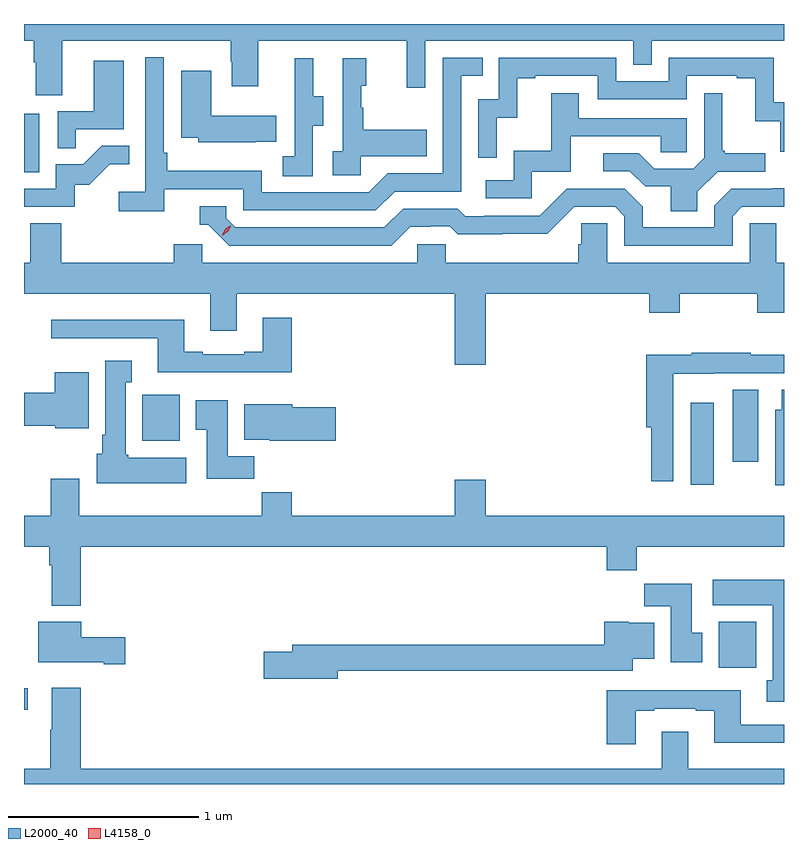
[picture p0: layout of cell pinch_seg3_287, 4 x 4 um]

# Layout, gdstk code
import gdstk
lib = gdstk.Library(unit=1e-6, precision=1e-09)
def R(c, l, rs):  # rectangles x0, y0, x1, y1
    for r in rs: c.add(gdstk.rectangle(r[:2], r[2:], *l))
def P(c, l, *ps):  # polygons
    for p in ps: c.add(gdstk.Polygon(p, *l))
L2000_40 = (2000, 40)
L4158_0 = (4158, 0)

pinch_seg3_287 = lib.new_cell('pinch_seg3_287')
R(pinch_seg3_287, L2000_40, [(941.961,706.719,941.98,706.831), (945.617,706.94,945.814,707.182), (945.47,707.904,945.592,708.334), (945.692,708.024,945.826,708.404), (942.584,708.134,942.781,708.376), (941.961,709.548,942.04,709.855)])
P(pinch_seg3_287, L2000_40, [(945.168,710.113),(945.264,710.113),(945.264,710.24),(945.961,710.24),(945.961,710.328),(941.961,710.328),(941.961,710.24),(942.011,710.24),(942.011,710.128),(942.023,710.128),(942.023,709.954),(942.163,709.954),(942.163,710.24),(943.048,710.24),(943.048,710.129),(943.055,710.129),(943.055,710.001),(943.195,710.001),(943.195,710.24),(943.976,710.24),(943.976,709.992),(944.073,709.992),(944.073,710.24),(945.168,710.24)],
  [(942.698,709.458),(943.116,709.458),(943.116,709.347),(943.813,709.347),(943.912,709.446),(944.262,709.446),(944.262,710.055),(944.375,710.055),(944.375,710.151),(944.166,710.151),(944.166,709.542),(943.875,709.542),(943.776,709.443),(943.212,709.443),(943.212,709.555),(942.716,709.555),(942.716,709.651),(942.696,709.651),(942.696,710.152),(942.6,710.152),(942.6,709.444),(942.459,709.444),(942.459,709.342),(942.698,709.342)],
  [(944.448,709.835),(944.558,709.835),(944.558,710.043),(944.653,710.043),(944.653,710.055),(944.982,710.055),(944.982,709.932),(945.45,709.932),(945.45,710.055),(945.713,710.055),(945.713,710.043),(945.809,710.043),(945.809,709.817),(945.942,709.817),(945.942,709.656),(945.961,709.656),(945.961,709.915),(945.906,709.915),(945.906,710.151),(945.354,710.151),(945.354,710.028),(945.078,710.028),(945.078,710.151),(944.46,710.151),(944.46,709.932),(944.352,709.932),(944.352,709.623),(944.448,709.623)],
  [(943.734,709.631),(944.081,709.631),(944.081,709.771),(943.747,709.771),(943.747,709.886),(943.737,709.886),(943.737,710.004),(943.762,710.004),(943.762,710.149),(943.638,710.149),(943.638,709.658),(943.587,709.658),(943.587,709.533),(943.734,709.533)],
  [(943.482,709.792),(943.537,709.792),(943.537,709.947),(943.483,709.947),(943.483,710.149),(943.385,710.149),(943.385,709.935),(943.386,709.935),(943.386,709.631),(943.323,709.631),(943.323,709.528),(943.482,709.528)],
  [(942.233,709.773),(942.487,709.773),(942.487,710.134),(942.329,710.134),(942.329,709.869),(942.138,709.869),(942.138,709.675),(942.233,709.675)],
  [(943.181,709.709),(943.289,709.709),(943.289,709.846),(942.946,709.846),(942.946,710.083),(942.788,710.083),(942.788,709.73),(942.879,709.73),(942.879,709.706),(943.181,709.706)],
  [(945.505,709.444),(945.612,709.551),(945.862,709.551),(945.862,709.648),(945.649,709.648),(945.649,709.66),(945.637,709.66),(945.637,709.963),(945.54,709.963),(945.54,709.623),(945.483,709.566),(945.277,709.566),(945.196,709.647),(945.009,709.647),(945.009,709.554),(945.15,709.554),(945.23,709.474),(945.365,709.474),(945.365,709.342),(945.505,709.342)],
  [(944.634,709.551),(944.839,709.551),(944.839,709.737),(945.313,709.737),(945.313,709.653),(945.45,709.653),(945.45,709.833),(944.881,709.833),(944.881,709.963),(944.737,709.963),(944.737,709.66),(944.538,709.66),(944.538,709.506),(944.391,709.506),(944.391,709.41),(944.634,709.41)],
  [(942.228,709.482),(942.304,709.482),(942.411,709.589),(942.515,709.589),(942.515,709.688),(942.371,709.688),(942.273,709.59),(942.129,709.59),(942.129,709.461),(941.961,709.461),(941.961,709.365),(942.228,709.365)],
  [(943.993,709.26),(944.1,709.26),(944.1,709.263),(944.203,709.263),(944.245,709.221),(944.478,709.221),(944.478,709.223),(944.714,709.223),(944.856,709.365),(945.072,709.365),(945.12,709.317),(945.12,709.161),(945.69,709.161),(945.69,709.317),(945.738,709.365),(945.961,709.365),(945.961,709.463),(945.9,709.463),(945.9,709.461),(945.684,709.461),(945.594,709.371),(945.594,709.257),(945.217,709.257),(945.217,709.367),(945.123,709.461),(944.817,709.461),(944.676,709.32),(944.383,709.32),(944.383,709.317),(944.284,709.317),(944.245,709.356),(943.956,709.356),(943.857,709.257),(943.074,709.257),(943.026,709.305),(943.026,709.368),(942.887,709.368),(942.887,709.272),(942.93,709.272),(943.041,709.161),(943.894,709.161)],
  [(941.993,709.28),(941.993,709.072),(941.961,709.072),(941.961,708.908),(942.941,708.908),(942.941,708.714),(943.081,708.714),(943.081,708.908),(944.228,708.908),(944.228,708.534),(944.392,708.534),(944.392,708.908),(945.251,708.908),(945.251,708.809),(945.411,708.809),(945.411,708.908),(945.82,708.908),(945.82,708.809),(945.961,708.809),(945.961,709.072),(945.919,709.072),(945.919,709.28),(945.78,709.28),(945.78,709.072),(945.03,709.072),(945.03,709.28),(944.893,709.28),(944.893,709.17),(944.879,709.17),(944.879,709.072),(944.181,709.072),(944.181,709.17),(944.031,709.17),(944.031,709.072),(942.9,709.072),(942.9,709.17),(942.749,709.17),(942.749,709.072),(942.158,709.072),(942.158,709.28)],
  [(943.37,708.781),(943.217,708.781),(943.217,708.604),(943.121,708.604),(943.121,708.591),(942.901,708.591),(942.901,708.604),(942.805,708.604),(942.805,708.772),(942.105,708.772),(942.105,708.675),(942.665,708.675),(942.665,708.494),(943.37,708.494)],
  [(945.378,708.488),(945.588,708.488),(945.588,708.489),(945.961,708.489),(945.961,708.588),(945.785,708.588),(945.785,708.598),(945.475,708.598),(945.475,708.588),(945.236,708.588),(945.236,708.206),(945.262,708.206),(945.262,707.922),(945.378,707.922)],
  [(942.814,708.046),(942.51,708.046),(942.51,708.06),(942.496,708.06),(942.496,708.443),(942.529,708.443),(942.529,708.556),(942.389,708.556),(942.389,708.166),(942.374,708.166),(942.374,708.066),(942.344,708.066),(942.344,707.912),(942.814,707.912)],
  [(942.301,708.496),(942.122,708.496),(942.122,708.386),(941.961,708.386),(941.961,708.214),(942.126,708.214),(942.126,708.2),(942.301,708.2)],
  [(945.961,708.404),(945.95,708.404),(945.95,708.298),(945.914,708.298),(945.914,707.901),(945.961,707.901)],
  [(943.172,708.052),(943.033,708.052),(943.033,708.349),(942.866,708.349),(942.866,708.193),(942.923,708.193),(942.923,707.934),(943.172,707.934)],
  [(943.603,708.311),(943.372,708.311),(943.372,708.328),(943.121,708.328),(943.121,708.14),(943.254,708.14),(943.254,708.134),(943.603,708.134)],
  [(942.26,707.576),(945.029,707.576),(945.029,707.452),(945.185,707.452),(945.185,707.576),(945.961,707.576),(945.961,707.74),(944.392,707.74),(944.392,707.929),(944.228,707.929),(944.228,707.74),(943.37,707.74),(943.37,707.864),(943.213,707.864),(943.213,707.74),(942.253,707.74),(942.253,707.935),(942.101,707.935),(942.101,707.74),(941.961,707.74),(941.961,707.576),(942.095,707.576),(942.095,707.48),(942.107,707.48),(942.107,707.267),(942.26,707.267)],
  [(945.961,707.404),(945.585,707.404),(945.585,707.27),(945.902,707.27),(945.902,706.874),(945.869,706.874),(945.869,706.761),(945.961,706.761)],
  [(945.532,707.124),(945.475,707.124),(945.475,707.383),(945.226,707.383),(945.226,707.264),(945.365,707.264),(945.365,706.968),(945.532,706.968)],
  [(942.493,707.1),(942.262,707.1),(942.262,707.182),(942.035,707.182),(942.035,706.97),(942.38,706.97),(942.38,706.958),(942.493,706.958)],
  [(943.612,706.924),(945.166,706.924),(945.166,706.988),(945.277,706.988),(945.277,707.176),(945.144,707.176),(945.144,707.182),(945.014,707.182),(945.014,707.06),(943.373,707.06),(943.373,707.024),(943.224,707.024),(943.224,706.882),(943.612,706.882)],
  [(945.961,706.408),(945.457,706.408),(945.457,706.603),(945.317,706.603),(945.317,706.408),(942.26,706.408),(942.26,706.834),(942.107,706.834),(942.107,706.613),(942.1,706.613),(942.1,706.408),(941.961,706.408),(941.961,706.328),(945.961,706.328)],
  [(945.181,706.713),(945.277,706.713),(945.277,706.725),(945.497,706.725),(945.497,706.713),(945.593,706.713),(945.593,706.544),(945.961,706.544),(945.961,706.641),(945.733,706.641),(945.733,706.822),(945.029,706.822),(945.029,706.536),(945.181,706.536)])
P(pinch_seg3_287, L4158_0, [(943.005,709.217),(943.005,709.217),(943.021,709.25),(943.052,709.269),(943.052,709.269),(943.052,709.269),(943.036,709.236),(943.006,709.217)])

lib.write_gds('pinch_seg3_287.gds')
